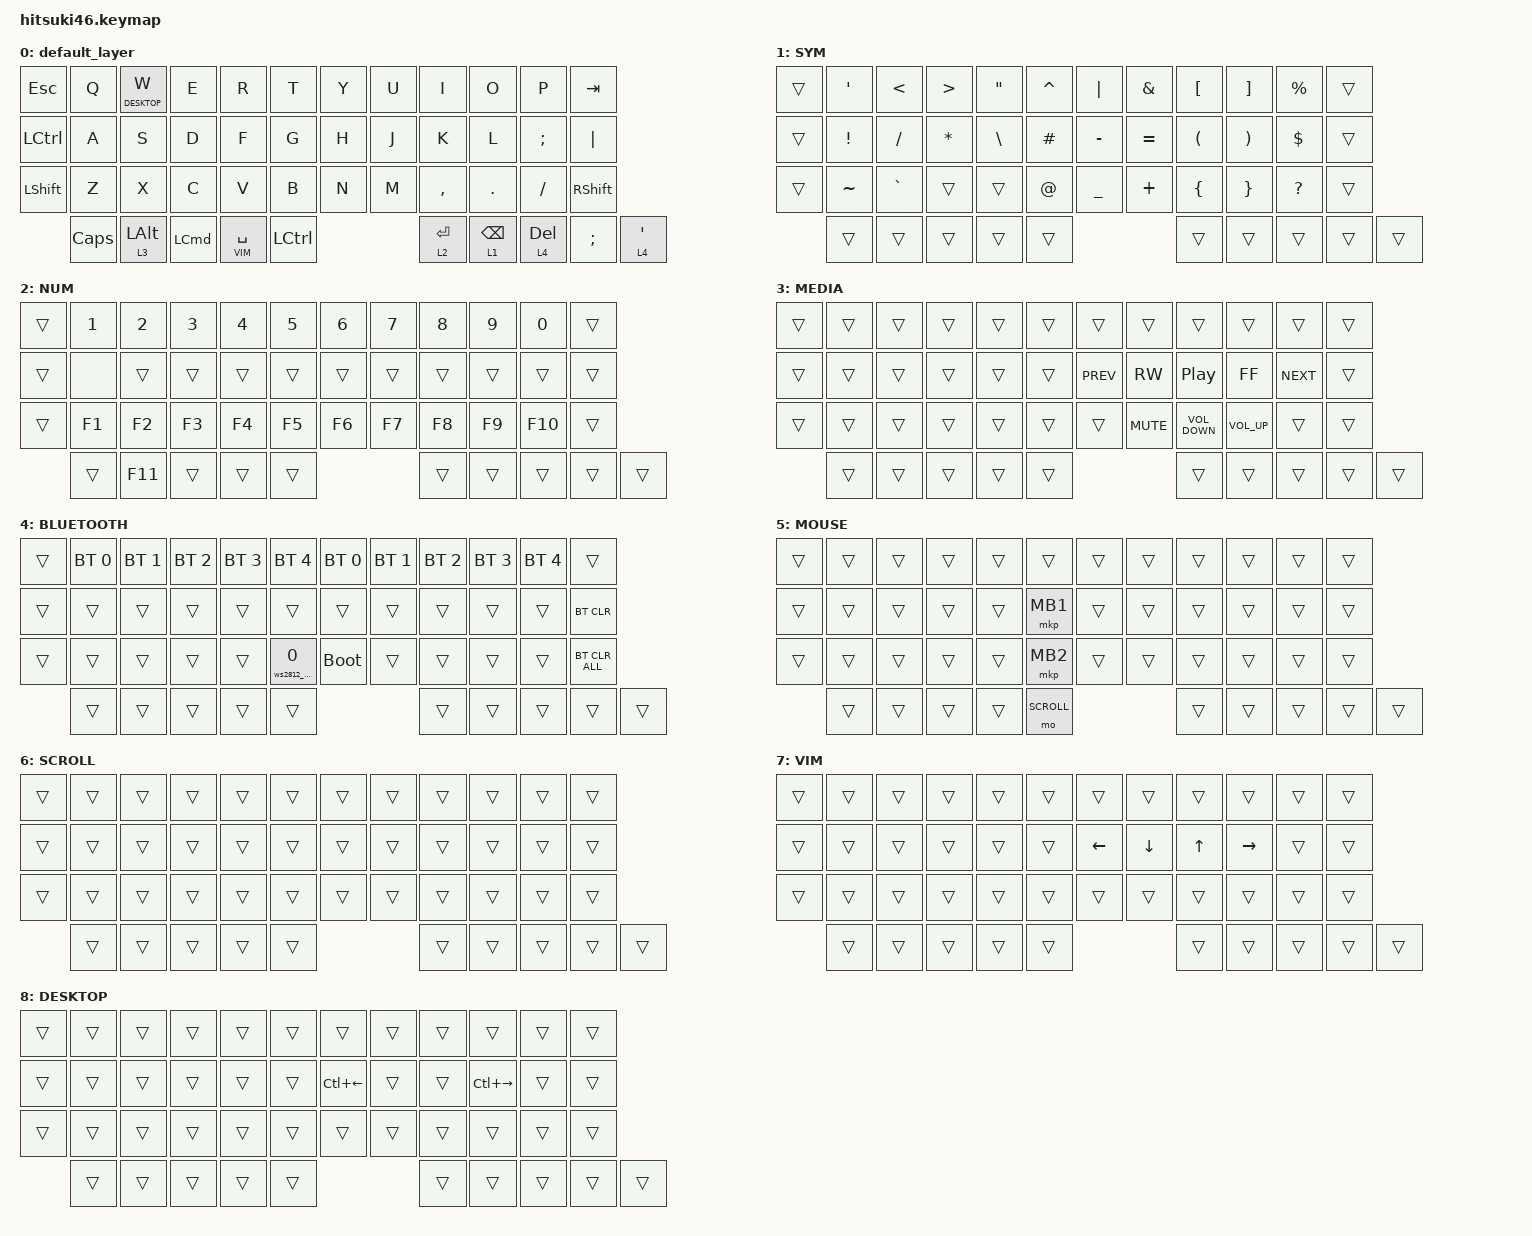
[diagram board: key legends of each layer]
#include <behaviors.dtsi>
#include <dt-bindings/zmk/bt.h>
#include <dt-bindings/zmk/keys.h>
#include <dt-bindings/zmk/pointing.h>

#define MOUSE 5    // 滑鼠層（軌跡球自動切層目標）
#define SCROLL 6   // 捲動層（MOUSE 層按住 K 啟用，軌跡球變捲輪）
#define VIM 7      // Vim 方向鍵層（按住 Space 啟用，H/J/K/L）
#define DESKTOP 8  // 桌面切換層（按住 W 啟用）

&mt {
    flavor = "balanced";
    quick-tap-ms = <0>;
    require-prior-idle-ms = <150>;
};

&lt {
    tapping-term-ms = <200>;
    quick-tap-ms = <200>;
    flavor = "balanced";
};

// 點完後 250ms 退出 MOUSE 層（快速回到打字模式）
&mkp_input_listener { input-processors = <&zip_temp_layer MOUSE 250>; };

/ {
    combos {
        compatible = "zmk,combos";

        tab {
            bindings = <&kp TAB>;
            key-positions = <2 3>;    // W+E = Tab
            slow-release;
        };

        enter {
            bindings = <&kp ENTER>;
            key-positions = <19 20>;  // J+K = Enter
            slow-release;
        };

        input_switch {
            bindings = <&input_tap>;
            key-positions = <14 15>;  // S+D = 切換輸入法
            slow-release;
        };
    };

    macros {
        to_layer_0: to_layer_0 {
            compatible = "zmk,behavior-macro-one-param";
            #binding-cells = <1>;
            bindings = <&to 0 &macro_param_1to1 &kp MACRO_PLACEHOLDER>;
            label = "TO_LAYER_0";
        };

        input_tap: input_tap {
            compatible = "zmk,behavior-macro";
            #binding-cells = <0>;
            bindings = <&macro_tap &kp LC(SPACE)>;
            label = "INPUT_TAP";
        };
    };

    behaviors {
        lt_to_layer_0: lt_to_layer_0 {
            compatible = "zmk,behavior-hold-tap";
            label = "LAYER_TAP_TO_0";
            bindings = <&mo>, <&to_layer_0>;

            #binding-cells = <2>;
            tapping-term-ms = <200>;
        };

        // 手動查看電量/連線/層狀態（修正上游 #binding-cells bug）
        ws2812_wdg: ws2812_widget {
            compatible = "zmk,behavior-ws2812-widget";
            #binding-cells = <1>;
            indicate-battery;
            indicate-connectivity;
            indicate-layer;
        };
    };

    keymap {
        compatible = "zmk,keymap";

        default_layer {  // Layer 0 - QWERTY
            bindings = <
&kp ESCAPE      &kp Q  &lt DESKTOP W  &kp E  &kp R  &kp T             &kp Y          &kp U  &kp I          &kp O    &kp P          &kp TAB
&kp LCTRL       &kp A  &kp S          &kp D  &kp F  &kp G             &kp H          &kp J  &kp K          &kp L    &kp SEMICOLON  &kp PIPE
&kp LEFT_SHIFT  &kp Z  &kp X          &kp C  &kp V  &kp B             &kp N          &kp M  &kp COMMA      &kp DOT  &kp SLASH      &kp RSHFT
                &kp CAPS  &lt 3 LEFT_ALT  &kp LEFT_COMMAND  &lt VIM SPACE  &kp LCTRL  &lt 2 ENTER  &lt 1 BACKSPACE  &lt 4 DELETE  &kp SEMICOLON  &lt 4 SINGLE_QUOTE
            >;
        };

        SYM {  // Layer 1 - 符號層（按住 LANG2 或 BKSP 啟用）
            bindings = <
&trans  &kp SINGLE_QUOTE  &kp LESS_THAN  &kp GREATER_THAN  &kp DOUBLE_QUOTES  &kp CARET      &kp PIPE        &kp AMPERSAND  &kp LEFT_BRACKET      &kp RIGHT_BRACKET      &kp PERCENT   &trans
&trans  &kp EXCLAMATION   &kp SLASH      &kp ASTRK         &kp BACKSLASH      &kp HASH       &kp MINUS       &kp EQUAL      &kp LEFT_PARENTHESIS  &kp RIGHT_PARENTHESIS  &kp DOLLAR    &trans
&trans  &kp TILDE         &kp GRAVE      &trans            &trans             &kp AT_SIGN     &kp UNDERSCORE  &kp PLUS       &kp LEFT_BRACE        &kp RIGHT_BRACE        &kp QUESTION  &trans
        &trans            &trans         &trans            &trans             &trans          &trans          &trans         &trans                &trans                 &trans
            >;
        };

        NUM {  // Layer 2 - 數字與 F 鍵層（按住 SPC / LANG1 / ENTER 啟用）
            bindings = <
&trans  &kp NUMBER_1  &kp NUMBER_2  &kp NUMBER_3  &kp NUMBER_4  &kp NUMBER_5    &kp NUMBER_6  &kp NUMBER_7  &kp NUMBER_8  &kp NUMBER_9  &kp N0   &trans
&trans  &none         &trans        &trans        &trans        &trans          &trans        &trans        &trans        &trans        &trans   &trans
&trans  &kp F1        &kp F2        &kp F3        &kp F4        &kp F5          &kp F6        &kp F7        &kp F8        &kp F9        &kp F10  &trans
        &trans        &kp F11       &trans        &trans        &trans          &trans        &trans        &trans        &trans        &trans
            >;
        };

        MEDIA {  // Layer 3 - 媒體控制層（按住 ALT 啟用）
            bindings = <
&trans  &trans  &trans  &trans  &trans  &trans    &trans      &trans      &trans             &trans           &trans      &trans
&trans  &trans  &trans  &trans  &trans  &trans    &kp C_PREV  &kp C_RW    &kp C_PLAY_PAUSE   &kp C_FF         &kp C_NEXT  &trans
&trans  &trans  &trans  &trans  &trans  &trans    &trans      &kp C_MUTE  &kp C_VOLUME_DOWN  &kp C_VOLUME_UP  &trans      &trans
        &trans  &trans  &trans  &trans  &trans    &trans      &trans      &trans             &trans           &trans
            >;
        };

        BLUETOOTH {  // Layer 4 - 藍牙設定層（按住 DEL 或 SQT 啟用）
            bindings = <
&trans  &bt BT_SEL 0  &bt BT_SEL 1  &bt BT_SEL 2  &bt BT_SEL 3  &bt BT_SEL 4    &bt BT_SEL 0  &bt BT_SEL 1  &bt BT_SEL 2  &bt BT_SEL 3  &bt BT_SEL 4    &trans
&trans  &trans        &trans        &trans        &trans        &trans          &trans        &trans        &trans        &trans        &trans          &bt BT_CLR
&trans  &trans         &trans       &trans        &trans        &ws2812_wdg 0   &bootloader   &trans        &trans        &trans        &trans          &bt BT_CLR_ALL
        &trans        &trans        &trans        &trans        &trans          &trans        &trans        &trans        &trans        &trans
            >;
        };

        MOUSE {  // Layer 5 - 軌跡球移動時自動切換，G=左鍵、B=右鍵、左拇指CTRL=捲動
            bindings = <
&trans  &trans  &trans  &trans  &trans  &trans      &trans  &trans  &trans  &trans  &trans  &trans
&trans  &trans  &trans  &trans  &trans  &mkp MB1    &trans  &trans  &trans  &trans  &trans  &trans
&trans  &trans  &trans  &trans  &trans  &mkp MB2    &trans  &trans  &trans  &trans  &trans  &trans
        &trans  &trans  &trans  &trans  &mo SCROLL    &trans  &trans  &trans  &trans  &trans
            >;
        };

        SCROLL {  // Layer 6 - 按住 K 啟用，軌跡球變捲輪模式
            bindings = <
&trans  &trans  &trans  &trans  &trans  &trans    &trans  &trans  &trans  &trans  &trans  &trans
&trans  &trans  &trans  &trans  &trans  &trans    &trans  &trans  &trans  &trans  &trans  &trans
&trans  &trans  &trans  &trans  &trans  &trans    &trans  &trans  &trans  &trans  &trans  &trans
        &trans  &trans  &trans  &trans  &trans    &trans  &trans  &trans  &trans  &trans
            >;
        };

        VIM {  // Layer 7 - 按住 Space 啟用，H=左 J=下 K=上 L=右
            bindings = <
&trans  &trans  &trans  &trans  &trans  &trans    &trans    &trans    &trans  &trans     &trans  &trans
&trans  &trans  &trans  &trans  &trans  &trans    &kp LEFT  &kp DOWN  &kp UP  &kp RIGHT  &trans  &trans
&trans  &trans  &trans  &trans  &trans  &trans    &trans    &trans    &trans  &trans     &trans  &trans
        &trans  &trans  &trans  &trans  &trans    &trans    &trans    &trans  &trans     &trans
            >;
        };

        DESKTOP {  // Layer 8 - 按住 W 啟用，H=切左桌面 L=切右桌面
            bindings = <
&trans  &trans  &trans  &trans  &trans  &trans    &trans        &trans  &trans  &trans         &trans  &trans
&trans  &trans  &trans  &trans  &trans  &trans    &kp LC(LEFT)  &trans  &trans  &kp LC(RIGHT)  &trans  &trans
&trans  &trans  &trans  &trans  &trans  &trans    &trans        &trans  &trans  &trans         &trans  &trans
        &trans  &trans  &trans  &trans  &trans    &trans        &trans  &trans  &trans         &trans
            >;
        };
    };
};
